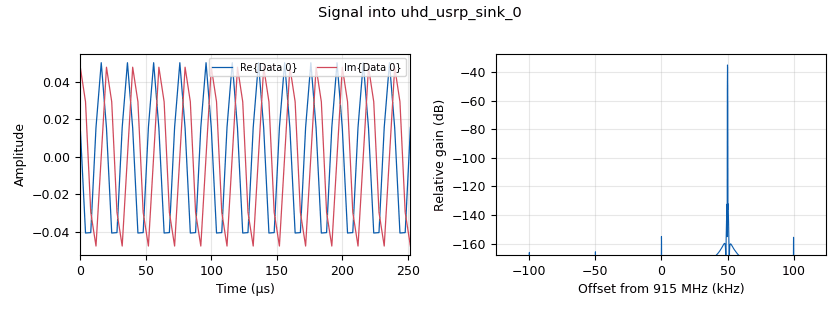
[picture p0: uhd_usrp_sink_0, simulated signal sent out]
options:
  parameters:
    generate_options: qt_gui
    id: poskus1
    output_language: python
    title: Not titled yet
  states: {}

blocks:
- name: samp_rate
  id: variable
  parameters:
    value: '32000'
  states: {}
- name: analog_sig_source_x_0
  id: analog_sig_source_x
  parameters:
    amp: '0.05'
    freq: '50000'
    offset: '0'
    phase: '0'
    samp_rate: '250000'
    type: complex
    waveform: analog.GR_COS_WAVE
  states: {}
- name: uhd_usrp_sink_0
  id: uhd_usrp_sink
  parameters:
    ant0: '"TX/RX"'
    bw0: '250000'
    center_freq0: 915e6
    dev_addr: '"serial=30F4194"'
    gain0: '-10'
    samp_rate: '250000'
    sync: sync
    type: fc32
  states: {}

connections:
- [analog_sig_source_x_0, '0', uhd_usrp_sink_0, '0']

metadata:
  file_format: 1
  grc_version: 3.10.12.0
